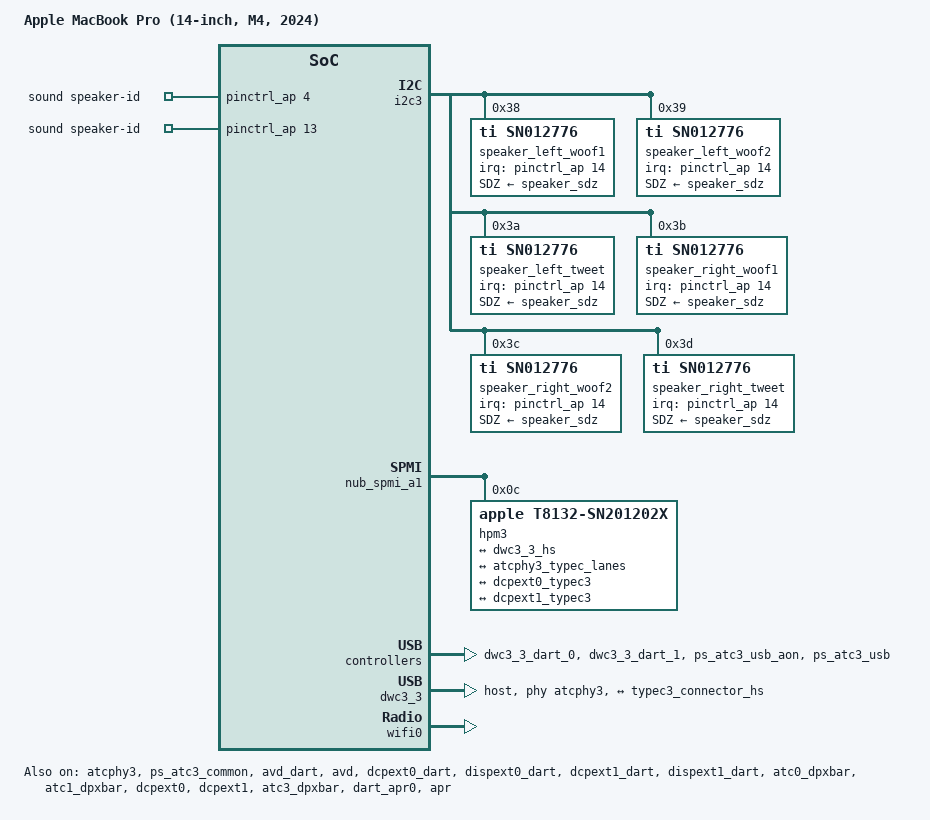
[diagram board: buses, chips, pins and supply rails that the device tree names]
// SPDX-License-Identifier: GPL-2.0+ OR MIT
/*
 * Apple MacBook Pro (14-inch, M4, 2024)
 *
 * target-type: J604
 *
 * Wired from the J604 ADT (macOS 27.0).
 *
 * Copyright The Asahi Linux Contributors
 */

/dts-v1/;

#include "t8132.dtsi"
#include "t8132-laptop.dtsi"
#include "t8132-atc23.dtsi"
#include "t8132-apcie-port2.dtsi"
#include <dt-bindings/gpio/gpio.h>
#include <dt-bindings/spmi/spmi.h>

/ {
	compatible = "apple,j604", "apple,t8132", "apple,arm-platform";
	model = "Apple MacBook Pro (14-inch, M4, 2024)";

	/*
	 * iBoot leaves the J604's MTP stopped, where the J713's runs it, so the
	 * loader programs its DART filter as for a halted consumer and Linux
	 * cold-starts it.
	 */
	chosen {
		linux-enablement-mac,dapf-halted-handoff = "/arm-io/mtp";
	};

	/*
	 * The AOP firmware runs the stream: the J616s frame, six playback and
	 * twelve sense slots, one serializer for all six amps. The codecs are
	 * listed in the ADT provider order, so each gets its native playback
	 * slot (LW1 0, RW1 1, LW2 2, RW2 3, LT 4, RT 5). The idle masks are
	 * the ADT amp-tx-zd-config rows 0 and 1: LW1 drives zeros in the right
	 * amps' sense slots, RW1 in the left amps'.
	 */
	sound: sound {
		compatible = "apple,j604-macaudio", "apple,macaudio";
		model = "MacBook Pro J604";
		/* ADT function-speaker-id0 and -id1 */
		speaker-id-gpios = <&pinctrl_ap 4 GPIO_ACTIVE_HIGH>,
				   <&pinctrl_ap 13 GPIO_ACTIVE_HIGH>;
		#address-cells = <1>;
		#size-cells = <0>;

		dai-link@0 {
			reg = <0>;
			link-name = "Speakers";
			dai-tdm-idle-mode-0 = "zero";
			dai-tdm-idle-mode-1 = "zero";
			dai-tdm-slot-tx-idle-mask-0 = <0xf0f0f0>;
			dai-tdm-slot-tx-idle-mask-1 = <0x0f0f0f>;

			cpu {
				sound-dai = <&aop_audio 3>;
			};

			codec {
				sound-dai = <&speaker_left_woof1>, <&speaker_right_woof1>,
					    <&speaker_left_woof2>, <&speaker_right_woof2>,
					    <&speaker_left_tweet>, <&speaker_right_tweet>;
			};
		};
	};

	/*
	 * Physical size of the firmware framebuffer's 3024x1890 area below
	 * the notch (14.2" panel, 254 ppi), so simpledrm reports the real DPI.
	 */
	fb_panel: panel {
		width-mm = <302>;
		height-mm = <189>;
		status = "disabled";
	};
};

/* The full 3024x1964 panel including the notch rows, 254 ppi. */
&dcp {
	apple,panel-width-mm = <302>;
	apple,panel-height-mm = <196>;
};

/*
 * The M4 PMGR policy disables ps_dptx_phy, which the shared boot
 * framebuffer lists; as on the J713, the loader keeps the display on.
 */
&framebuffer0 {
	/delete-property/ power-domains;
};

&sound_jack {
	compatible = "apple,j604-macaudio-jack", "apple,macaudio";
	model = "MacBook Pro J604 Jack";
};

&aop_audio {
	apple,chassis-name = "J604";
	apple,machine-kind = "MacBook Pro";
};

/*
 * The six SN012776 speaker amps (ADT /arm-io/i2c3/audio-speaker at 0x38
 * and its speaker1..5): one interrupt line on AP GPIO 14, level low; sense
 * slots from speaker-config (amp i at bytes 4i and 4i + 2, in provider
 * order). Every amp joins the SDZ fail-closed group.
 */
&i2c3 {
	status = "okay";

	speaker_left_woof1: codec@38 {
		compatible = "ti,sn012776", "ti,tas2764";
		reg = <0x38>;
		SDZ-supply = <&speaker_sdz>;
		apple,sdz-group-fail-closed;
		apple,deferred-shutdown;
		#sound-dai-cells = <0>;
		sound-name-prefix = "Left Woofer 1";
		interrupts-extended = <&pinctrl_ap 14 IRQ_TYPE_LEVEL_LOW>;
		ti,imon-slot-no = <0>;
		ti,vmon-slot-no = <2>;
	};

	speaker_left_woof2: codec@39 {
		compatible = "ti,sn012776", "ti,tas2764";
		reg = <0x39>;
		SDZ-supply = <&speaker_sdz>;
		apple,sdz-group-fail-closed;
		apple,deferred-shutdown;
		#sound-dai-cells = <0>;
		sound-name-prefix = "Left Woofer 2";
		interrupts-extended = <&pinctrl_ap 14 IRQ_TYPE_LEVEL_LOW>;
		ti,imon-slot-no = <8>;
		ti,vmon-slot-no = <10>;
	};

	speaker_left_tweet: codec@3a {
		compatible = "ti,sn012776", "ti,tas2764";
		reg = <0x3a>;
		SDZ-supply = <&speaker_sdz>;
		apple,sdz-group-fail-closed;
		apple,deferred-shutdown;
		#sound-dai-cells = <0>;
		sound-name-prefix = "Left Tweeter";
		interrupts-extended = <&pinctrl_ap 14 IRQ_TYPE_LEVEL_LOW>;
		ti,imon-slot-no = <16>;
		ti,vmon-slot-no = <18>;
	};

	speaker_right_woof1: codec@3b {
		compatible = "ti,sn012776", "ti,tas2764";
		reg = <0x3b>;
		SDZ-supply = <&speaker_sdz>;
		apple,sdz-group-fail-closed;
		apple,deferred-shutdown;
		#sound-dai-cells = <0>;
		sound-name-prefix = "Right Woofer 1";
		interrupts-extended = <&pinctrl_ap 14 IRQ_TYPE_LEVEL_LOW>;
		ti,imon-slot-no = <4>;
		ti,vmon-slot-no = <6>;
	};

	speaker_right_woof2: codec@3c {
		compatible = "ti,sn012776", "ti,tas2764";
		reg = <0x3c>;
		SDZ-supply = <&speaker_sdz>;
		apple,sdz-group-fail-closed;
		apple,deferred-shutdown;
		#sound-dai-cells = <0>;
		sound-name-prefix = "Right Woofer 2";
		interrupts-extended = <&pinctrl_ap 14 IRQ_TYPE_LEVEL_LOW>;
		ti,imon-slot-no = <12>;
		ti,vmon-slot-no = <14>;
	};

	speaker_right_tweet: codec@3d {
		compatible = "ti,sn012776", "ti,tas2764";
		reg = <0x3d>;
		SDZ-supply = <&speaker_sdz>;
		apple,sdz-group-fail-closed;
		apple,deferred-shutdown;
		#sound-dai-cells = <0>;
		sound-name-prefix = "Right Tweeter";
		interrupts-extended = <&pinctrl_ap 14 IRQ_TYPE_LEVEL_LOW>;
		ti,imon-slot-no = <20>;
		ti,vmon-slot-no = <22>;
	};
};

&typec0 {
	label = "USB-C Left Front";
};

&typec1 {
	label = "USB-C Left Rear";
};

/* hpm3 is ATC3's port controller; hpm5, the MagSafe port's, is not wired. */
&nub_spmi_a1 {
	status = "okay";

	hpm3: usb-pd@c {
		compatible = "apple,t8132-sn201202x", "apple,sn201202x";
		reg = <0xc SPMI_USID>;
		interrupts = <11 IRQ_TYPE_EDGE_RISING>,
			     <17 IRQ_TYPE_EDGE_RISING>,
			     <19 IRQ_TYPE_EDGE_RISING>;
		interrupt-names = "irq", "sleep", "wake";
		wakeup-source;

		typec3: connector {
			compatible = "usb-c-connector";
			label = "USB-C Right";
			power-role = "dual";
			data-role = "dual";

			ports {
				#address-cells = <1>;
				#size-cells = <0>;

				port@0 {
					reg = <0>;
					typec3_connector_hs: endpoint {
						remote-endpoint = <&dwc3_3_hs>;
					};
				};

				port@1 {
					reg = <1>;
					typec3_connector_ss: endpoint {
						remote-endpoint = <&atcphy3_typec_lanes>;
					};
				};
			};
		};
	};
};

&atcphy3 {
	apple,dp-alt-mode;
	status = "okay";

	ports {
		#address-cells = <1>;
		#size-cells = <0>;

		port@0 {
			reg = <0>;
			atcphy3_typec_lanes: endpoint {
				remote-endpoint = <&typec3_connector_ss>;
			};
		};
	};
};

&dwc3_3_dart_0 {
	status = "okay";
};

&dwc3_3_dart_1 {
	status = "okay";
};

&dwc3_3 {
	dr_mode = "host";
	maximum-speed = "super-speed";
	phys = <&atcphy3 PHY_TYPE_USB2>, <&atcphy3 PHY_TYPE_USB3>;
	phy-names = "usb2-phy", "usb3-phy";
	status = "okay";

	ports {
		#address-cells = <1>;
		#size-cells = <0>;

		port@0 {
			reg = <0>;
			dwc3_3_hs: endpoint {
				remote-endpoint = <&typec3_connector_hs>;
			};
		};
	};
};

/*
 * The HDMI port is dispext0 through ATC2's DisplayPort PHY (ADT atc-phy2,
 * atc2-dpxbar, no USB controller) and a DP-to-HDMI converter at i2c0 0x08
 * (pcon0), with hot-plug on AOP GPIO 41. ATC2 stays off with dispext0.
 */

&wifi0 {
	/* ADT /arm-io/wlan module-instance */
	brcm,board-type = "apple,guam";
};

&bluetooth0 {
	brcm,board-type = "apple,guam";
};

/*
 * The SD card reader, a GL9755 (ADT pci-bridge2/pcie-sdreader), powered by
 * the SMC's gP19 (function-sd_pwr_en).
 */
&port02 {
	pwren-gpios = <&smc_gpio 0x19 GPIO_ACTIVE_HIGH>;
};

/*
 * The cold-started MTP runs on DART stream 0, as on the M4 Pro and Max,
 * instead of the stream 1 the J713's running MTP is handed over on.
 * ADT "remap": streams 1 2 3 are stream 0.
 */
&mtp_dart {
	apple,remap-streams = <1 0>, <2 0>, <3 0>;
};

&mtp {
	iommus = <&mtp_dart 0>;
};

&mtp_hid {
	iommus = <&mtp_dart 0>;

	multi-touch {
		firmware-name = "apple/tpmtfw-j604.bin";
	};

	/* J604 ADT /arm-io/dockchannel-mtp/mtp-transport/actuator: Force Touch */
	actuator {
	};
};

/*
 * Touch ID: the ADT names the J604's Mesa sensor "R3", J613's generation, so
 * it runs in J613's SPI mode 1 (spi-cpha), not the mode 2 (spi-cpol) the
 * T8132 node defaults to for J713's V3 sensor. In mode 3 (both) every wake
 * read returns sixteen zero bytes and apple_sep gates the sensor.
 */
&mesa {
	/delete-property/ spi-cpol;
	spi-cpha;
	/*
	 * Per-device factory data from this Mac's own iBoot system container:
	 * the calibration, and the signed root key the nonce session loads.
	 */
	firmware-name = "apple/mesacal-j604.bin", "apple/msrk-j604.bin";
};

#include "hwmon-common.dtsi"
#include "hwmon-laptop.dtsi"
#include "hwmon-fan.dtsi"
#include "t8132-j604-hwmon-rails.dtsi"

/*
 * The PMGR domains of the USB-C ports this board wires beyond ATC0/ATC1, as
 * the M4 firmware path's policy enables ATC0/ATC1's.
 */
&ps_atc3_common {
	status = "okay";
};

&ps_atc3_usb_aon {
	status = "okay";
};

&ps_atc3_usb {
	status = "okay";
};

&avd_dart {
	status = "okay";
};

&avd {
	status = "okay";
};

#include "t8132-j604-atcphy-tunables.dtsi"

/*
 * External displays over USB-C: both pipes (dcpext0/1), routed through each
 * port's display crossbar to its ATC PHY in DisplayPort alt mode. The left
 * ports sit on ATC0/ATC1 with typec0/typec1 as on the J713, the right port on
 * ATC3 with typec3 (its PHY is marked above). The HDMI port (ATC2) is not
 * described here.
 */
&atcphy0 {
	apple,dp-alt-mode;
};

&atcphy1 {
	apple,dp-alt-mode;
};

&dcpext0_mbox {
	status = "okay";
};

&dcpext0_dart {
	status = "okay";
};

&dispext0_dart {
	status = "okay";
};

&dcpext1_mbox {
	status = "okay";
};

&dcpext1_dart {
	status = "okay";
};

&dispext1_dart {
	status = "okay";
};

&atc0_dpxbar {
	status = "okay";
};

&atc1_dpxbar {
	status = "okay";
};

/*
 * dcpext0's Type-C routes, UFP mux selector 2 on each ATC crossbar
 * (cells 0/1/2: DP PHY, DP IN0, DP IN1). The routes are disabled here; the
 * display gate enables them only for a dcpext the boot loader handed over,
 * since a USB-C port controller waits for every available route.
 */
&dcpext0 {
	apple,connector-type = "USB-C";
	phys = <&atcphy0 PHY_TYPE_DP>, <&atcphy1 PHY_TYPE_DP>, <&atcphy3 PHY_TYPE_DP>;
	phy-names = "typec0", "typec1", "typec2";
	mux-controls = <&atc0_dpxbar 0>, <&atc1_dpxbar 0>,
		       <&atc0_dpxbar 1>, <&atc0_dpxbar 2>,
		       <&atc1_dpxbar 1>, <&atc1_dpxbar 2>,
		       <&atc3_dpxbar 0>;
	mux-control-names = "typec0", "typec1",
			    "typec0-dpin0", "typec0-dpin1",
			    "typec1-dpin0", "typec1-dpin1",
			    "typec2";
	apple,typec-mux-indices = <2 2 2>;
	apple,typec-dptx-phys = <0 1 3>;

	status = "okay";

	typec-routes {
		#address-cells = <1>;
		#size-cells = <0>;

		route@0 {
			reg = <0>;
			mode-switch;
			status = "disabled";

			port {
				dcpext0_typec0: endpoint {
					remote-endpoint = <&typec0_dcpext0>;
				};
			};
		};

		route@1 {
			reg = <1>;
			mode-switch;
			status = "disabled";

			port {
				dcpext0_typec1: endpoint {
					remote-endpoint = <&typec1_dcpext0>;
				};
			};
		};

		route@2 {
			reg = <2>;
			mode-switch;
			status = "disabled";

			port {
				dcpext0_typec3: endpoint {
					remote-endpoint = <&typec3_dcpext0>;
				};
			};
		};
	};
};

/*
 * dcpext1's Type-C routes, UFP mux selector 4 on each ATC crossbar
 * (cells 0/1/2: DP PHY, DP IN0, DP IN1). The routes are disabled here; the
 * display gate enables them only for a dcpext the boot loader handed over,
 * since a USB-C port controller waits for every available route.
 */
&dcpext1 {
	apple,connector-type = "USB-C";
	phys = <&atcphy0 PHY_TYPE_DP>, <&atcphy1 PHY_TYPE_DP>, <&atcphy3 PHY_TYPE_DP>;
	phy-names = "typec0", "typec1", "typec2";
	mux-controls = <&atc0_dpxbar 0>, <&atc1_dpxbar 0>,
		       <&atc0_dpxbar 1>, <&atc0_dpxbar 2>,
		       <&atc1_dpxbar 1>, <&atc1_dpxbar 2>,
		       <&atc3_dpxbar 0>;
	mux-control-names = "typec0", "typec1",
			    "typec0-dpin0", "typec0-dpin1",
			    "typec1-dpin0", "typec1-dpin1",
			    "typec2";
	apple,typec-mux-indices = <4 4 4>;
	apple,typec-dptx-phys = <0 1 3>;

	status = "okay";

	typec-routes {
		#address-cells = <1>;
		#size-cells = <0>;

		route@0 {
			reg = <0>;
			mode-switch;
			status = "disabled";

			port {
				dcpext1_typec0: endpoint {
					remote-endpoint = <&typec0_dcpext1>;
				};
			};
		};

		route@1 {
			reg = <1>;
			mode-switch;
			status = "disabled";

			port {
				dcpext1_typec1: endpoint {
					remote-endpoint = <&typec1_dcpext1>;
				};
			};
		};

		route@2 {
			reg = <2>;
			mode-switch;
			status = "disabled";

			port {
				dcpext1_typec3: endpoint {
					remote-endpoint = <&typec3_dcpext1>;
				};
			};
		};
	};
};

&typec0 {
	ports {
		port@3 {
			reg = <3>;
			#address-cells = <1>;
			#size-cells = <0>;

			typec0_dcpext0: endpoint@0 {
				reg = <0>;
				remote-endpoint = <&dcpext0_typec0>;
			};

			typec0_dcpext1: endpoint@1 {
				reg = <1>;
				remote-endpoint = <&dcpext1_typec0>;
			};
		};
	};
};

&typec1 {
	ports {
		port@3 {
			reg = <3>;
			#address-cells = <1>;
			#size-cells = <0>;

			typec1_dcpext0: endpoint@0 {
				reg = <0>;
				remote-endpoint = <&dcpext0_typec1>;
			};

			typec1_dcpext1: endpoint@1 {
				reg = <1>;
				remote-endpoint = <&dcpext1_typec1>;
			};
		};
	};
};

&atc3_dpxbar {
	status = "okay";
};

&typec3 {
	ports {
		port@3 {
			reg = <3>;
			#address-cells = <1>;
			#size-cells = <0>;

			typec3_dcpext0: endpoint@0 {
				reg = <0>;
				remote-endpoint = <&dcpext0_typec3>;
			};

			typec3_dcpext1: endpoint@1 {
				reg = <1>;
				remote-endpoint = <&dcpext1_typec3>;
			};
		};
	};
};

/*
 * Keyboard backlight on macOS's scale: its levels 0.0625..1.0 drive
 * 69..336 of 960 PWM cycles, on = 52 + 284 * level, so the top level is
 * 35 % duty and the line starts at 5.42 %.
 */
&kbd_led {
	min-duty-cycle-bp = <542>;
	max-duty-cycle-bp = <3500>;
};

/*
 * The headset jack reports the plug on ring sense; tip sense keeps
 * re-asserting with nothing plugged in.
 */
&jack_codec {
	cirrus,ring-sense-detect;
};

/*
 * ProRes: the engine and its DART. The driver binds the T8132 engine whenever
 * apple/prores-t8132-init.bin is installed and leaves it off without it.
 */
&dart_apr0 {
	status = "okay";
};

&apr {
	status = "okay";
};
